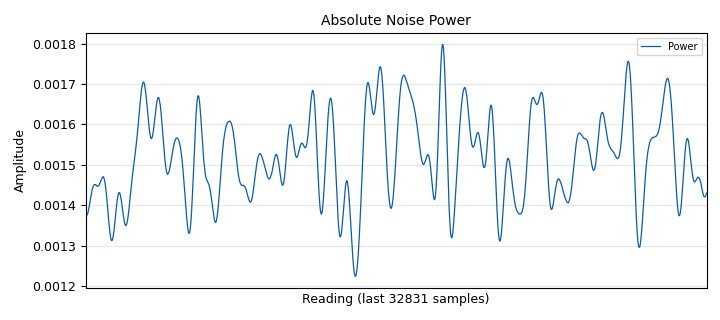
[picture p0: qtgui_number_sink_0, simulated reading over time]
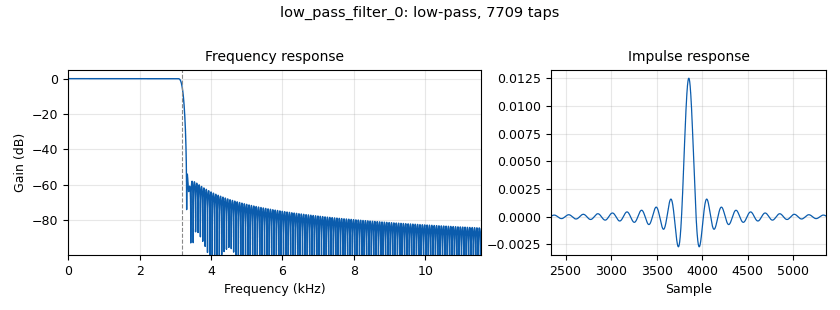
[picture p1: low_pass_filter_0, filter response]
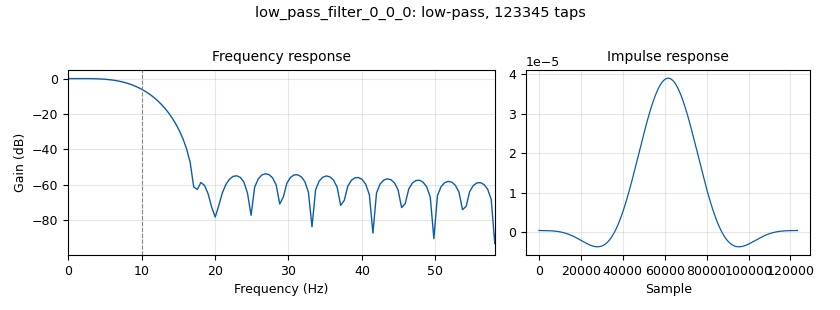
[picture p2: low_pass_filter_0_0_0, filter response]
options:
  parameters:
    author: rcampello
    generate_options: qt_gui
    id: E2C
    output_language: python
    title: E2C
  states: {}

blocks:
- name: A_noise
  id: variable_qtgui_range
  parameters:
    gui_hint: 1, 0, 1, 1
    orient: Qt.Horizontal
    start: '0.01'
    step: '0.01'
    stop: '5'
    value: '0.35'
  states: {}
- name: FB
  id: variable
  parameters:
    value: '32000'
  states: {}
- name: fL_div_by_FB
  id: variable_qtgui_range
  parameters:
    gui_hint: 0, 0, 1, 1
    orient: Qt.Horizontal
    start: '0.1'
    step: '0.5'
    stop: sps / 2
    value: '0.1'
  states: {}
- name: pparams
  id: variable
  parameters:
    value: '[10, 0.2]'
  states: {}
- name: ptype
  id: variable
  parameters:
    value: '"rect"'
  states: {}
- name: samp_rate
  id: variable
  parameters:
    value: '512000'
  states: {}
- name: sps
  id: variable
  parameters:
    value: '16'
  states: {}
- name: analog_noise_source_x_0
  id: analog_noise_source_x
  parameters:
    amp: A_noise
    noise_type: analog.GR_GAUSSIAN
    seed: '0'
    type: float
  states: {}
- name: blocks_add_xx_0
  id: blocks_add_xx
  parameters:
    type: float
  states: {}
- name: blocks_divide_xx_0
  id: blocks_divide_xx
  parameters:
    type: float
  states: {}
- name: blocks_head_0
  id: blocks_head
  parameters:
    num_items: FB * 100
    type: float
  states: {}
- name: blocks_multiply_const_vxx_0
  id: blocks_multiply_const_vxx
  parameters:
    const: '0.5'
    type: float
  states: {}
- name: blocks_multiply_xx_0
  id: blocks_multiply_xx
  parameters:
    type: float
  states: {}
- name: blocks_multiply_xx_0_0
  id: blocks_multiply_xx
  parameters:
    type: float
  states: {}
- name: blocks_nlog10_ff_0
  id: blocks_nlog10_ff
  parameters:
    k: '0'
    n: '10'
  states: {}
- name: blocks_skiphead_0
  id: blocks_skiphead
  parameters:
    num_items: FB * 50
    type: float
  states: {}
- name: blocks_throttle_0
  id: blocks_throttle
  parameters:
    samples_per_second: FB
    type: float
  states: {}
- name: blocks_wavfile_sink_0
  id: blocks_wavfile_sink
  parameters:
    bits_per_sample: '16'
    file: /home/rcampello/Main/3m/Simulação de sistemas de comunicação/Labs/Lab5/E2C-gnuradio-recording.wav
    samp_rate: samp_rate
  states: {}
- name: digital_glfsr_source_x_0
  id: digital_glfsr_source_x
  parameters:
    degree: '22'
    mask: '0'
    repeat: 'True'
    seed: '1'
    type: float
  states: {}
- name: import_0
  id: import
  parameters:
    imports: from ModuleLab5 import pampt
  states: {}
- name: interp_fir_filter_xxx_0
  id: interp_fir_filter_xxx
  parameters:
    interp: sps
    taps: pampt(sps, ptype, pparams)
    type: fff
  states: {}
- name: low_pass_filter_0
  id: low_pass_filter
  parameters:
    cutoff_freq: fL_div_by_FB * FB
    decim: '1'
    gain: '1'
    samp_rate: samp_rate
    type: fir_filter_fff
    width: fL_div_by_FB * FB / 20
    win: firdes.WIN_HAMMING
  states: {}
- name: low_pass_filter_0_0
  id: low_pass_filter
  parameters:
    cutoff_freq: fL_div_by_FB * FB
    decim: '1'
    gain: '1'
    samp_rate: samp_rate
    type: fir_filter_fff
    width: fL_div_by_FB * FB / 20
    win: firdes.WIN_HAMMING
  states: {}
- name: low_pass_filter_0_0_0
  id: low_pass_filter
  parameters:
    cutoff_freq: '10'
    decim: '64'
    gain: '1'
    samp_rate: samp_rate
    type: fir_filter_fff
    width: '10'
    win: firdes.WIN_HAMMING
  states: {}
- name: low_pass_filter_0_0_0_0
  id: low_pass_filter
  parameters:
    cutoff_freq: '10'
    decim: '64'
    gain: '1'
    samp_rate: samp_rate
    type: fir_filter_fff
    width: '10'
    win: firdes.WIN_HAMMING
  states: {}
- name: note_0
  id: note
  parameters:
    note: SNR 20 dB -> 0.19 // SNR 10 dB -> 0.61 // SNR 5 dB - > 1.1 // SNR 20 dB FB/2 -> 0.35
  states: {}
- name: qtgui_freq_sink_x_0
  id: qtgui_freq_sink_x
  parameters:
    bw: samp_rate
    fc: '0'
    fftsize: '1024'
    grid: 'True'
    gui_hint: 2, 1, 1, 1
    type: float
    wintype: firdes.WIN_BLACKMAN_hARRIS
  states: {}
- name: qtgui_number_sink_0
  id: qtgui_number_sink
  parameters:
    graph_type: qtgui.NUM_GRAPH_HORIZ
    gui_hint: 1, 1, 1, 1
    label1: Power
    max: '2'
    min: '0'
    name: '"Absolute Noise Power"'
    type: float
  states: {}
- name: qtgui_number_sink_1
  id: qtgui_number_sink
  parameters:
    graph_type: qtgui.NUM_GRAPH_HORIZ
    gui_hint: 0, 1, 1, 1
    name: '"Signal to Noise Ratio [dB]"'
    type: float
  states: {}
- name: qtgui_time_sink_x_0
  id: qtgui_time_sink_x
  parameters:
    grid: 'True'
    gui_hint: 2, 0, 1, 1
    size: '1024'
    srate: samp_rate
    type: float
    ymax: '2'
    ymin: '-2'
  states: {}

connections:
- [analog_noise_source_x_0, '0', low_pass_filter_0_0, '0']
- [blocks_add_xx_0, '0', blocks_multiply_const_vxx_0, '0']
- [blocks_divide_xx_0, '0', blocks_nlog10_ff_0, '0']
- [blocks_head_0, '0', blocks_wavfile_sink_0, '0']
- [blocks_multiply_const_vxx_0, '0', blocks_skiphead_0, '0']
- [blocks_multiply_const_vxx_0, '0', qtgui_freq_sink_x_0, '0']
- [blocks_multiply_const_vxx_0, '0', qtgui_time_sink_x_0, '0']
- [blocks_multiply_xx_0, '0', low_pass_filter_0_0_0_0, '0']
- [blocks_multiply_xx_0_0, '0', low_pass_filter_0_0_0, '0']
- [blocks_nlog10_ff_0, '0', qtgui_number_sink_1, '0']
- [blocks_skiphead_0, '0', blocks_head_0, '0']
- [blocks_throttle_0, '0', interp_fir_filter_xxx_0, '0']
- [digital_glfsr_source_x_0, '0', blocks_throttle_0, '0']
- [interp_fir_filter_xxx_0, '0', low_pass_filter_0, '0']
- [low_pass_filter_0, '0', blocks_add_xx_0, '0']
- [low_pass_filter_0, '0', blocks_multiply_xx_0, '0']
- [low_pass_filter_0, '0', blocks_multiply_xx_0, '1']
- [low_pass_filter_0_0, '0', blocks_add_xx_0, '1']
- [low_pass_filter_0_0, '0', blocks_multiply_xx_0_0, '0']
- [low_pass_filter_0_0, '0', blocks_multiply_xx_0_0, '1']
- [low_pass_filter_0_0_0, '0', blocks_divide_xx_0, '1']
- [low_pass_filter_0_0_0, '0', qtgui_number_sink_0, '0']
- [low_pass_filter_0_0_0_0, '0', blocks_divide_xx_0, '0']

metadata:
  file_format: 1
